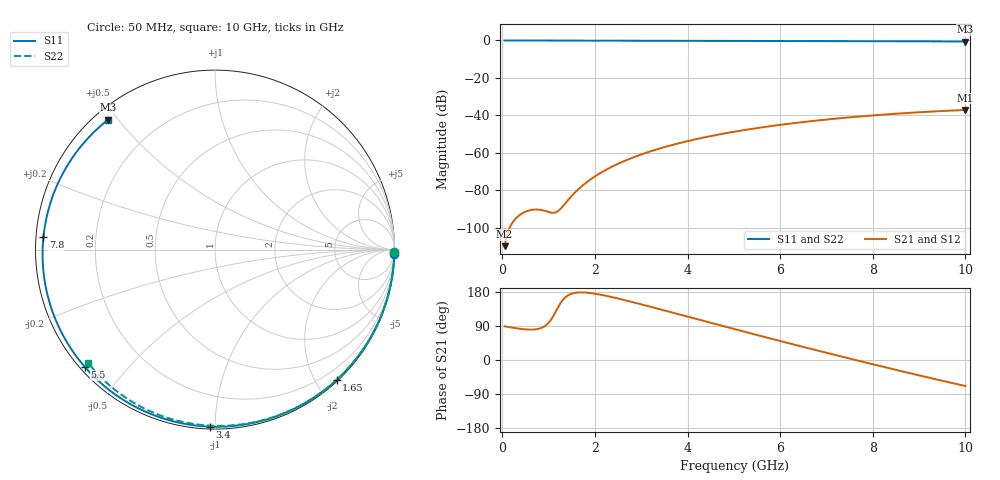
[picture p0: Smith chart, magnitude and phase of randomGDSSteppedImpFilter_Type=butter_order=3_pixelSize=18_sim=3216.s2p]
! freq	dB(S11)	phase(S11)	dB(S12)	phase(S12)
!  dB(S21)	phase(S21)	dB(S22)	phase(S22)
!S-par simulation data
#  GHz  S  DB  R 50
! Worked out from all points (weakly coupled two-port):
!   200 points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, 50 MHz to 10 GHz, reference 50 ohm
!   highest |S21| = -37.05 dB at 10 GHz (marker M1); lowest = -109.7 dB at 50 MHz (marker M2)
!   lowest |S11| = -0.6 dB at 10 GHz (marker M3), VSWR 30.87, Z = 1.98 + j23.6 ohm
!   |S11| at or under -10 dB: nowhere
!   |S22| runs from -0.5 to 0.0 dB; largest |S21 - S12| = 0
!   S11 on the Smith chart (normalised r, x): 50 MHz: 0, -78; 1.65 GHz: 0.02, -2.30; 3.4 GHz: 0.01, -0.97; 5.5 GHz: 0.01, -0.38; 7.8 GHz: 0.02, +0.04; 10 GHz: 0.04, +0.47
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0.05  -0.00 -1.5  -109.71 88.9  -109.71 88.9  -0.00 -0.8
0.4  -0.02 -11.6  -92.65 82.0  -92.65 82.0  -0.01 -6.4
0.8  -0.03 -23.2  -90.28 82.8  -90.28 82.8  -0.02 -12.7
1.2  -0.04 -34.5  -91.06 138.3  -91.06 138.3  -0.02 -19.0
1.6  -0.06 -45.6  -80.33 177.7  -80.33 177.7  -0.03 -25.3
1.65  -0.06 -47.0  -79.16 178.3  -79.16 178.3  -0.03 -26.0
1.75  -0.06 -49.7  -77.01 178.3  -77.01 178.3  -0.04 -27.6
2.05  -0.07 -57.7  -71.71 173.9  -71.71 173.9  -0.04 -32.2
2.45  -0.08 -68.2  -66.35 163.7  -66.35 163.7  -0.05 -38.3
2.9  -0.10 -79.5  -61.70 150.1  -61.70 150.1  -0.06 -45.1
3.4  -0.12 -91.7  -57.60 134.1  -57.60 134.1  -0.07 -52.5
3.8  -0.13 -101.0  -54.89 121.1  -54.89 121.1  -0.08 -58.3
4.2  -0.15 -110.1  -52.56 108.0  -52.56 108.0  -0.09 -64.0
5.05  -0.18 -128.5  -48.50 80.4  -48.50 80.4  -0.12 -75.8
5.5  -0.21 -137.9  -46.73 66.0  -46.73 66.0  -0.13 -81.9
6.1  -0.24 -150.2  -44.69 47.0  -44.69 47.0  -0.16 -89.9
6.7  -0.28 -162.2  -42.95 28.2  -42.95 28.2  -0.19 -97.7
7.25  -0.32 -173.2  -41.57 11.4  -41.57 11.4  -0.22 -104.7
7.8  -0.37 175.8  -40.37 -5.2  -40.37 -5.2  -0.26 -111.5
8.35  -0.42 164.7  -39.33 -21.6  -39.33 -21.6  -0.30 -118.3
9.15  -0.49 148.0  -38.08 -44.8  -38.08 -44.8  -0.38 -128.0
10  -0.56 129.5  -37.05 -68.7  -37.05 -68.7  -0.47 -138.2
